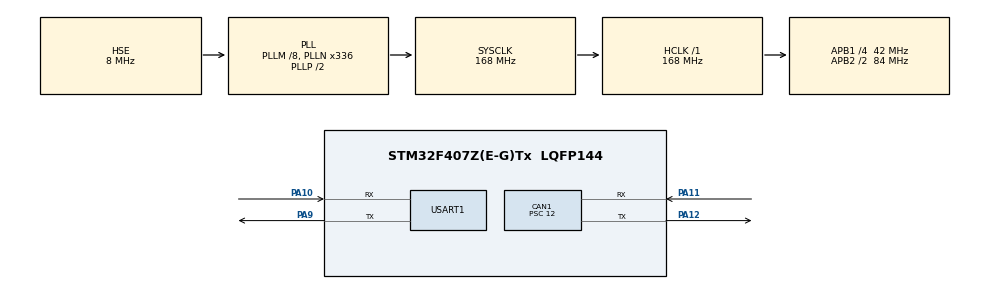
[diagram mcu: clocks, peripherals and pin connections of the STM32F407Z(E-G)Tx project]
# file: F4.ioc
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CAN1.BS1=CAN_BS1_11TQ
CAN1.BS2=CAN_BS2_2TQ
CAN1.CalculateBaudRate=250000
CAN1.CalculateTimeBit=4000
CAN1.CalculateTimeQuantum=285.7142857142857
CAN1.Mode=CAN_MODE_NORMAL
CAN1.NART=ENABLE
CAN1.Prescaler=12
Mcu.Family=STM32F4
Mcu.Name=STM32F407Z(E-G)Tx
Mcu.Package=LQFP144
NVIC.CAN1_RX0_IRQn=true\:0\:0\:false\:false\:true\:true\:true\:true
NVIC.PriorityGroup=NVIC_PRIORITYGROUP_4
PA10.Mode=Asynchronous
PA10.Signal=USART1_RX
PA11.Mode=CAN_Activate
PA11.Signal=CAN1_RX
PA12.Mode=CAN_Activate
PA12.Signal=CAN1_TX
PA9.Mode=Asynchronous
PA9.Signal=USART1_TX
PH0-OSC_IN.Mode=HSE-External-Oscillator
PH0-OSC_IN.Signal=RCC_OSC_IN
PH1-OSC_OUT.Mode=HSE-External-Oscillator
PH1-OSC_OUT.Signal=RCC_OSC_OUT
ProjectManager.HeapSize=0x200
ProjectManager.StackSize=0x400
ProjectManager.TargetToolchain=MDK-ARM V5
RCC.48MHZClocksFreq_Value=84000000
RCC.AHBFreq_Value=168000000
RCC.APB1CLKDivider=RCC_HCLK_DIV4
RCC.APB1Freq_Value=42000000
RCC.APB1TimFreq_Value=84000000
RCC.APB2CLKDivider=RCC_HCLK_DIV2
RCC.APB2Freq_Value=84000000
RCC.APB2TimFreq_Value=168000000
RCC.CortexFreq_Value=168000000
RCC.HCLKFreq_Value=168000000
RCC.HSE_VALUE=8000000
RCC.HSI_VALUE=16000000
RCC.LSE_VALUE=32768
RCC.PLLM=8
RCC.PLLN=336
RCC.PLLSourceVirtual=RCC_PLLSOURCE_HSE
RCC.SYSCLKFreq_VALUE=168000000
RCC.SYSCLKSource=RCC_SYSCLKSOURCE_PLLCLK
RCC.VCOOutputFreq_Value=336000000
USART1.VirtualMode=VM_ASYNC
board=custom

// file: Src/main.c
/* USER CODE BEGIN Header */
/**
  ******************************************************************************
  * @file           : main.c
  * @brief          : Main program body
  ******************************************************************************
  * @attention
  *
  * Copyright (c) 2026 STMicroelectronics.
  * All rights reserved.
  *
  * This software is licensed under terms that can be found in the LICENSE file
  * in the root directory of this software component.
  * If no LICENSE file comes with this software, it is provided AS-IS.
  *
  ******************************************************************************
  */
/* USER CODE END Header */
#include "main.h"

CAN_HandleTypeDef hcan1;

UART_HandleTypeDef huart1;

void SystemClock_Config(void);
static void MX_GPIO_Init(void);
static void MX_CAN1_Init(void);
static void MX_USART1_UART_Init(void);

/* USER CODE BEGIN 0 */
#include <stdio.h>
int fputc(int ch, FILE *f)
{
    HAL_UART_Transmit(&huart1, (uint8_t *)&ch, 1, 100);
    return ch;
}
/* USER CODE END 0 */

int main(void)
{

  /* MCU Configuration--------------------------------------------------------*/

  /* Reset of all peripherals, Initializes the Flash interface and the Systick. */
  HAL_Init();

  /* Configure the system clock */
  SystemClock_Config();

  /* Initialize all configured peripherals */
  MX_GPIO_Init();
  MX_CAN1_Init();
  MX_USART1_UART_Init();
  /* USER CODE BEGIN 2 */
HAL_CAN_Start(&hcan1);

CAN_FilterTypeDef filter = {0};
filter.FilterBank = 0;
filter.FilterMode = CAN_FILTERMODE_IDMASK;
filter.FilterScale = CAN_FILTERSCALE_32BIT;
filter.FilterIdHigh = 0x0000;
filter.FilterIdLow = 0x0000;
filter.FilterMaskIdHigh = 0x0000;
filter.FilterMaskIdLow = 0x0000;
filter.FilterFIFOAssignment = CAN_FILTER_FIFO0;
filter.FilterActivation = ENABLE;
filter.SlaveStartFilterBank = 14;
HAL_CAN_ConfigFilter(&hcan1, &filter);

HAL_CAN_ActivateNotification(&hcan1, CAN_IT_RX_FIFO0_MSG_PENDING);

  /* USER CODE END 2 */

  /* Infinite loop */
  /* USER CODE BEGIN WHILE */
  while (1)
  {
		// 每1秒发一帧经典CAN帧

	  /*以下未被注释部分为测试canfd->经典can*/
		uint32_t esr = hcan1.Instance->ESR;
    uint8_t tec = (esr >> 16) & 0xFF;
    uint8_t rec = (esr >> 24) & 0xFF;
    uint8_t epvf = (esr >> 1) & 1;
    uint8_t boff = (esr >> 2) & 1;

    printf("F4: TEC=%d, REC=%d, EP=%d, BO=%d, State=%d\r\n",
           tec, rec, epvf, boff, HAL_CAN_GetState(&hcan1));

    HAL_Delay(1000);
		/*若测试经典can->canfd就将以上部分注释掉，以下取消注释*/
//    CAN_TxHeaderTypeDef TxHeader = {0};
//    uint8_t TxData[8] = {0xAA, 0xBB, 0xCC, 0xDD, 0xEE, 0xFF, 0x11, 0x22};
//    uint32_t TxMailbox;

//    TxHeader.StdId = 0x456;
//    TxHeader.IDE = CAN_ID_STD;
//    TxHeader.RTR = CAN_RTR_DATA;
//    TxHeader.DLC = 8;
//    TxHeader.TransmitGlobalTime = DISABLE;

//    if (HAL_CAN_AddTxMessage(&hcan1, &TxHeader, TxData, &TxMailbox) == HAL_OK) {
//        printf("F4 Send OK\r\n");
//    } else {
//        printf("F4 Send FAILED\r\n");
//    }
//
//    HAL_Delay(1000); // 1秒发一次

    /* USER CODE END WHILE */

  }
}

void SystemClock_Config(void)
{
  RCC_OscInitTypeDef RCC_OscInitStruct = {0};
  RCC_ClkInitTypeDef RCC_ClkInitStruct = {0};

  /** Configure the main internal regulator output voltage
  */
  __HAL_RCC_PWR_CLK_ENABLE();
  __HAL_PWR_VOLTAGESCALING_CONFIG(PWR_REGULATOR_VOLTAGE_SCALE1);

  /** Initializes the RCC Oscillators according to the specified parameters
  * in the RCC_OscInitTypeDef structure.
  */
  RCC_OscInitStruct.OscillatorType = RCC_OSCILLATORTYPE_HSE;
  RCC_OscInitStruct.HSEState = RCC_HSE_ON;
  RCC_OscInitStruct.PLL.PLLState = RCC_PLL_ON;
  RCC_OscInitStruct.PLL.PLLSource = RCC_PLLSOURCE_HSE;
  RCC_OscInitStruct.PLL.PLLM = 8;
  RCC_OscInitStruct.PLL.PLLN = 336;
  RCC_OscInitStruct.PLL.PLLP = RCC_PLLP_DIV2;
  RCC_OscInitStruct.PLL.PLLQ = 4;
  if (HAL_RCC_OscConfig(&RCC_OscInitStruct) != HAL_OK)
  {
    Error_Handler();
  }

  /** Initializes the CPU, AHB and APB buses clocks
  */
  RCC_ClkInitStruct.ClockType = RCC_CLOCKTYPE_HCLK|RCC_CLOCKTYPE_SYSCLK
                              |RCC_CLOCKTYPE_PCLK1|RCC_CLOCKTYPE_PCLK2;
  RCC_ClkInitStruct.SYSCLKSource = RCC_SYSCLKSOURCE_PLLCLK;
  RCC_ClkInitStruct.AHBCLKDivider = RCC_SYSCLK_DIV1;
  RCC_ClkInitStruct.APB1CLKDivider = RCC_HCLK_DIV4;
  RCC_ClkInitStruct.APB2CLKDivider = RCC_HCLK_DIV2;

  if (HAL_RCC_ClockConfig(&RCC_ClkInitStruct, FLASH_LATENCY_5) != HAL_OK)
  {
    Error_Handler();
  }
}

static void MX_CAN1_Init(void)
{

  hcan1.Instance = CAN1;
  hcan1.Init.Prescaler = 12;
  hcan1.Init.Mode = CAN_MODE_NORMAL;
  hcan1.Init.SyncJumpWidth = CAN_SJW_1TQ;
  hcan1.Init.TimeSeg1 = CAN_BS1_11TQ;
  hcan1.Init.TimeSeg2 = CAN_BS2_2TQ;
  hcan1.Init.TimeTriggeredMode = DISABLE;
  hcan1.Init.AutoBusOff = DISABLE;
  hcan1.Init.AutoWakeUp = DISABLE;
  hcan1.Init.AutoRetransmission = ENABLE;
  hcan1.Init.ReceiveFifoLocked = DISABLE;
  hcan1.Init.TransmitFifoPriority = DISABLE;
  if (HAL_CAN_Init(&hcan1) != HAL_OK)
  {
    Error_Handler();
  }

}

static void MX_USART1_UART_Init(void)
{

  huart1.Instance = USART1;
  huart1.Init.BaudRate = 115200;
  huart1.Init.WordLength = UART_WORDLENGTH_8B;
  huart1.Init.StopBits = UART_STOPBITS_1;
  huart1.Init.Parity = UART_PARITY_NONE;
  huart1.Init.Mode = UART_MODE_TX_RX;
  huart1.Init.HwFlowCtl = UART_HWCONTROL_NONE;
  huart1.Init.OverSampling = UART_OVERSAMPLING_16;
  if (HAL_UART_Init(&huart1) != HAL_OK)
  {
    Error_Handler();
  }

}

static void MX_GPIO_Init(void)
{

  /* GPIO Ports Clock Enable */
  __HAL_RCC_GPIOH_CLK_ENABLE();
  __HAL_RCC_GPIOA_CLK_ENABLE();

}

/* USER CODE BEGIN 4 */
void HAL_CAN_RxFifo0MsgPendingCallback(CAN_HandleTypeDef *hcan)
{
    CAN_RxHeaderTypeDef rx_header;
    uint8_t rx_data[8];

    if (HAL_CAN_GetRxMessage(hcan, CAN_RX_FIFO0, &rx_header, rx_data) == HAL_OK)
    {
        printf("F4 Recv H7! ID:0x%03X, DLC:%d, D0:0x%02X\r\n",
               rx_header.StdId, rx_header.DLC, rx_data[0]);
    }
}
/* USER CODE END 4 */

void Error_Handler(void)
{
  __disable_irq();
  while (1)
  {
  }
}
